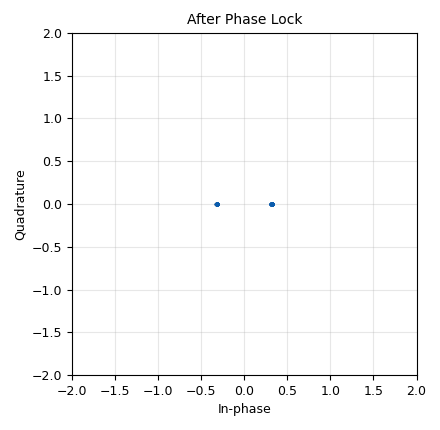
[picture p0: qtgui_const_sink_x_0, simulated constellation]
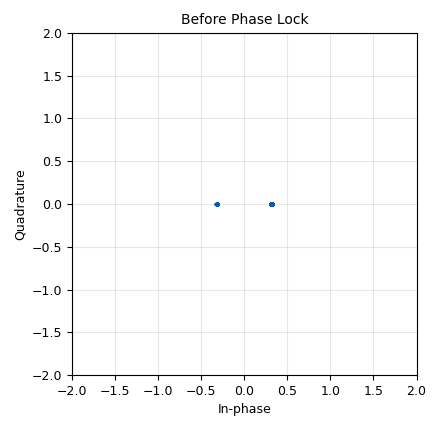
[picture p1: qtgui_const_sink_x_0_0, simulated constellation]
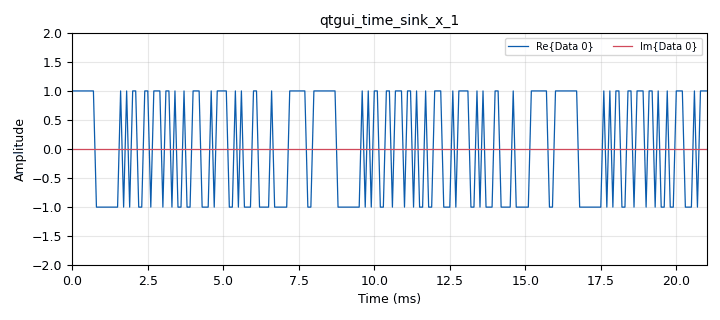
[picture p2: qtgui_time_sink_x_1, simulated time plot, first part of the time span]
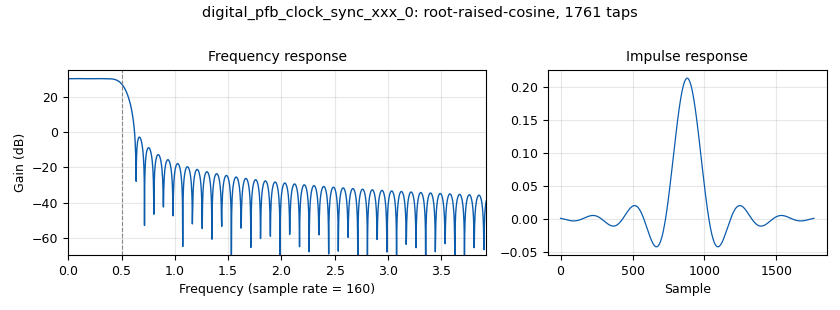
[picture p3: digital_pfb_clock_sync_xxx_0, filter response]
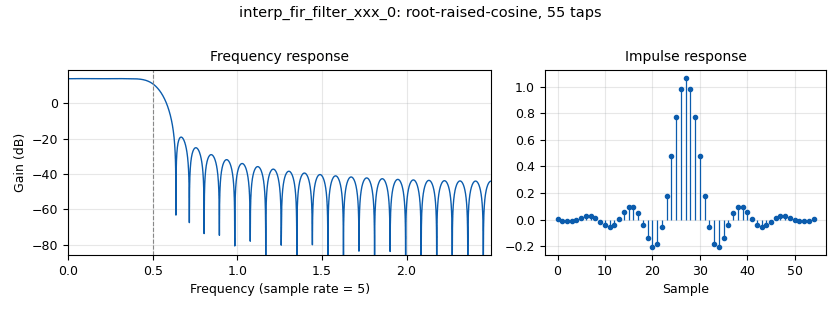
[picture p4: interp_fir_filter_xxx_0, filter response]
<?xml version='1.0' encoding='utf-8'?>
<?grc format='1' created='3.7.11'?>
<flow_graph>
<block>
<key>options</key>
<param><key>id</key><value>example_corr_est_and_phase_sync</value></param>
<param><key>category</key><value>Custom</value></param>
<param><key>generate_options</key><value>qt_gui</value></param>
</block>
<block>
<key>variable</key>
<param><key>id</key><value>ac</value></param>
<param><key>value</key><value>map(lambda x: int(x), list(digital.packet_utils.default_access_code))</value></param>
</block>
<block>
<key>variable</key>
<param><key>id</key><value>ac_hex</value></param>
<param><key>value</key><value>[0xac, 0xdd, 0xa4, 0xe2, 0xf2, 0x8c, 0x20, 0xfc]</value></param>
</block>
<block>
<key>variable</key>
<param><key>id</key><value>eb</value></param>
<param><key>value</key><value>0.22</value></param>
</block>
<block>
<key>variable</key>
<param><key>id</key><value>filt_delay</value></param>
<param><key>value</key><value>1+(len(rrc_taps)-1)/2</value></param>
</block>
<block>
<key>variable_qtgui_range</key>
<param><key>id</key><value>freq_off</value></param>
<param><key>value</key><value>0.0</value></param>
<param><key>gui_hint</key><value>1,0,1,1</value></param>
<param><key>label</key><value>Freq. Off.</value></param>
<param><key>orient</key><value>Qt.Horizontal</value></param>
<param><key>start</key><value>-0.25</value></param>
<param><key>step</key><value>0.0001</value></param>
<param><key>stop</key><value>0.25</value></param>
</block>
<block>
<key>variable_constellation</key>
<param><key>id</key><value>hdr_const</value></param>
<param><key>const_points</key><value>digital.psk_2()[0]</value></param>
<param><key>type</key><value>calcdist</value></param>
<param><key>dims</key><value>1</value></param>
<param><key>rot_sym</key><value>2</value></param>
<param><key>soft_dec_lut</key><value>'auto'</value></param>
<param><key>precision</key><value>8</value></param>
<param><key>sym_map</key><value>digital.psk_2()[1]</value></param>
</block>
<block>
<key>variable</key>
<param><key>id</key><value>mark_delay</value></param>
<param><key>value</key><value>mark_delays[sps]</value></param>
</block>
<block>
<key>variable</key>
<param><key>id</key><value>mark_delays</value></param>
<param><key>comment</key><value>Tag Marking Delay for 
Corr Est block, indexed
by sps.

Found empirically.</value></param>
<param><key>value</key><value>[0, 0, 34, 56, 87, 119]</value></param>
</block>
<block>
<key>variable_modulate_vector</key>
<param><key>id</key><value>modulated_sync_word</value></param>
<param><key>data</key><value>ac_hex</value></param>
<param><key>taps</key><value>[1]</value></param>
<param><key>mod</key><value>rxmod</value></param>
</block>
<block>
<key>variable</key>
<param><key>id</key><value>nfilts</value></param>
<param><key>value</key><value>32</value></param>
</block>
<block>
<key>variable_qtgui_range</key>
<param><key>id</key><value>noise</value></param>
<param><key>value</key><value>-50</value></param>
<param><key>gui_hint</key><value>0,1,1,1</value></param>
<param><key>label</key><value>Noise Power</value></param>
<param><key>orient</key><value>Qt.Horizontal</value></param>
<param><key>start</key><value>-50</value></param>
<param><key>step</key><value>1</value></param>
<param><key>stop</key><value>10</value></param>
</block>
<block>
<key>variable_qtgui_range</key>
<param><key>id</key><value>path_loss</value></param>
<param><key>value</key><value>10</value></param>
<param><key>gui_hint</key><value>0,0,1,1</value></param>
<param><key>label</key><value>Path Loss (dB)</value></param>
<param><key>orient</key><value>Qt.Horizontal</value></param>
<param><key>start</key><value>0</value></param>
<param><key>step</key><value>5</value></param>
<param><key>stop</key><value>140</value></param>
</block>
<block>
<key>variable_rrc_filter_taps</key>
<param><key>id</key><value>rrc_taps</value></param>
<param><key>alpha</key><value>eb</value></param>
<param><key>gain</key><value>sps</value></param>
<param><key>ntaps</key><value>11*sps</value></param>
<param><key>samp_rate</key><value>sps</value></param>
<param><key>sym_rate</key><value>1.0</value></param>
</block>
<block>
<key>variable_rrc_filter_taps</key>
<param><key>id</key><value>rx_psf_taps</value></param>
<param><key>alpha</key><value>eb</value></param>
<param><key>gain</key><value>nfilts</value></param>
<param><key>ntaps</key><value>11*sps*nfilts</value></param>
<param><key>samp_rate</key><value>sps*nfilts</value></param>
<param><key>sym_rate</key><value>1.0</value></param>
</block>
<block>
<key>variable</key>
<param><key>id</key><value>rxmod</value></param>
<param><key>value</key><value>digital.generic_mod(hdr_const, False, sps, True, eb, False, False)</value></param>
</block>
<block>
<key>variable</key>
<param><key>id</key><value>samp_rate</value></param>
<param><key>value</key><value>10e3</value></param>
</block>
<block>
<key>variable</key>
<param><key>id</key><value>sps</value></param>
<param><key>value</key><value>5</value></param>
</block>
<block>
<key>variable_qtgui_range</key>
<param><key>id</key><value>time_off</value></param>
<param><key>value</key><value>1.0</value></param>
<param><key>gui_hint</key><value>1,1,1,1</value></param>
<param><key>label</key><value>Time Off.</value></param>
<param><key>orient</key><value>Qt.Horizontal</value></param>
<param><key>start</key><value>0.9999</value></param>
<param><key>step</key><value>0.00001</value></param>
<param><key>stop</key><value>1.0001</value></param>
</block>
<block>
<key>blocks_add_const_vxx</key>
<param><key>id</key><value>blocks_add_const_vxx_0</value></param>
<param><key>const</key><value>-1</value></param>
<param><key>type</key><value>complex</value></param>
</block>
<block>
<key>blocks_complex_to_mag_squared</key>
<param><key>id</key><value>blocks_complex_to_mag_squared_0</value></param>
</block>
<block>
<key>blocks_multiply_const_vxx</key>
<param><key>id</key><value>blocks_multiply_const_vxx_0</value></param>
<param><key>const</key><value>2</value></param>
<param><key>type</key><value>complex</value></param>
</block>
<block>
<key>blocks_stream_to_tagged_stream</key>
<param><key>id</key><value>blocks_stream_to_tagged_stream_0</value></param>
<param><key>len_tag_key</key><value>"packet_len"</value></param>
<param><key>packet_len</key><value>len(ac)+16</value></param>
<param><key>type</key><value>complex</value></param>
</block>
<block>
<key>blocks_throttle</key>
<param><key>id</key><value>blocks_throttle_0</value></param>
<param><key>samples_per_second</key><value>samp_rate</value></param>
<param><key>type</key><value>complex</value></param>
</block>
<block>
<key>blocks_vector_source_x</key>
<param><key>id</key><value>blocks_vector_source_x_0</value></param>
<param><key>type</key><value>complex</value></param>
<param><key>repeat</key><value>True</value></param>
<param><key>vector</key><value>[1,1,1,1,1,1,1,1,0,0,0,0,0,0,0,0] + ac</value></param>
</block>
<block>
<key>channels_channel_model</key>
<param><key>id</key><value>channels_channel_model_0</value></param>
<param><key>block_tags</key><value>True</value></param>
<param><key>epsilon</key><value>time_off</value></param>
<param><key>freq_offset</key><value>freq_off</value></param>
<param><key>noise_voltage</key><value>sps * 10.0**(noise/10.0)</value></param>
<param><key>seed</key><value>0</value></param>
<param><key>taps</key><value>10.0**(-path_loss/20.0)</value></param>
</block>
<block>
<key>digital_corr_est_cc</key>
<param><key>id</key><value>digital_corr_est_cc_0</value></param>
<param><key>sps</key><value>sps</value></param>
<param><key>symbols</key><value>modulated_sync_word</value></param>
<param><key>mark_delay</key><value>mark_delay</value></param>
<param><key>threshold</key><value>0.999</value></param>
</block>
<block>
<key>digital_costas_loop_cc</key>
<param><key>id</key><value>digital_costas_loop_cc_0_0</value></param>
<param><key>w</key><value>6.28/100.0</value></param>
<param><key>order</key><value>hdr_const.arity()</value></param>
</block>
<block>
<key>digital_pfb_clock_sync_xxx</key>
<param><key>id</key><value>digital_pfb_clock_sync_xxx_0</value></param>
<param><key>filter_size</key><value>nfilts</value></param>
<param><key>init_phase</key><value>nfilts/2</value></param>
<param><key>loop_bw</key><value>6.28/400.0</value></param>
<param><key>max_dev</key><value>1.5</value></param>
<param><key>osps</key><value>1</value></param>
<param><key>sps</key><value>sps</value></param>
<param><key>taps</key><value>rx_psf_taps</value></param>
<param><key>type</key><value>ccf</value></param>
</block>
<block>
<key>interp_fir_filter_xxx</key>
<param><key>id</key><value>interp_fir_filter_xxx_0</value></param>
<param><key>interp</key><value>sps</value></param>
<param><key>samp_delay</key><value>filt_delay</value></param>
<param><key>taps</key><value>rrc_taps</value></param>
<param><key>type</key><value>ccc</value></param>
</block>
<block>
<key>qtgui_const_sink_x</key>
<param><key>id</key><value>qtgui_const_sink_x_0</value></param>
<param><key>gui_hint</key><value>tab1@1: 0,1,1,1</value></param>
<param><key>legend</key><value>False</value></param>
<param><key>name</key><value>"After Phase Lock"</value></param>
<param><key>size</key><value>512</value></param>
<param><key>type</key><value>complex</value></param>
</block>
<block>
<key>qtgui_const_sink_x</key>
<param><key>id</key><value>qtgui_const_sink_x_0_0</value></param>
<param><key>gui_hint</key><value>tab1@1: 0,0,1,1</value></param>
<param><key>legend</key><value>False</value></param>
<param><key>name</key><value>"Before Phase Lock"</value></param>
<param><key>size</key><value>512</value></param>
<param><key>type</key><value>complex</value></param>
</block>
<block>
<key>qtgui_time_sink_x</key>
<param><key>id</key><value>qtgui_time_sink_x_0</value></param>
<param><key>gui_hint</key><value>tab1@0</value></param>
<param><key>legend</key><value>False</value></param>
<param><key>color1</key><value>"blue"</value></param>
<param><key>label1</key><value></value></param>
<param><key>color2</key><value>"red"</value></param>
<param><key>label2</key><value></value></param>
<param><key>name</key><value>"Symbols"</value></param>
<param><key>size</key><value>200</value></param>
<param><key>srate</key><value>1</value></param>
<param><key>tr_delay</key><value>15</value></param>
<param><key>tr_mode</key><value>qtgui.TRIG_MODE_TAG</value></param>
<param><key>tr_tag</key><value>corr_start</value></param>
<param><key>type</key><value>complex</value></param>
<param><key>ymax</key><value>1.5</value></param>
<param><key>ymin</key><value>-1.5</value></param>
</block>
<block>
<key>qtgui_time_sink_x</key>
<param><key>id</key><value>qtgui_time_sink_x_0_0</value></param>
<param><key>gui_hint</key><value>tab0@0</value></param>
<param><key>legend</key><value>False</value></param>
<param><key>color1</key><value>"blue"</value></param>
<param><key>label1</key><value></value></param>
<param><key>color2</key><value>"red"</value></param>
<param><key>label2</key><value></value></param>
<param><key>name</key><value>"Complex Corr"</value></param>
<param><key>size</key><value>512</value></param>
<param><key>srate</key><value>1</value></param>
<param><key>tr_delay</key><value>15</value></param>
<param><key>tr_level</key><value>0</value></param>
<param><key>tr_mode</key><value>qtgui.TRIG_MODE_TAG</value></param>
<param><key>tr_tag</key><value>corr_est</value></param>
<param><key>type</key><value>complex</value></param>
<param><key>ymax</key><value>100</value></param>
<param><key>ymin</key><value>-100</value></param>
</block>
<block>
<key>qtgui_time_sink_x</key>
<param><key>id</key><value>qtgui_time_sink_x_0_0_0</value></param>
<param><key>gui_hint</key><value>tab0@1</value></param>
<param><key>legend</key><value>False</value></param>
<param><key>color1</key><value>"blue"</value></param>
<param><key>label1</key><value></value></param>
<param><key>name</key><value>"Mag of Corr"</value></param>
<param><key>size</key><value>512</value></param>
<param><key>srate</key><value>1</value></param>
<param><key>tr_delay</key><value>15</value></param>
<param><key>tr_level</key><value>0</value></param>
<param><key>tr_mode</key><value>qtgui.TRIG_MODE_TAG</value></param>
<param><key>tr_tag</key><value>corr_est</value></param>
<param><key>type</key><value>float</value></param>
<param><key>ymax</key><value>4000</value></param>
<param><key>ymin</key><value>-100</value></param>
</block>
<block>
<key>qtgui_time_sink_x</key>
<param><key>id</key><value>qtgui_time_sink_x_1</value></param>
<param><key>color1</key><value>"blue"</value></param>
<param><key>label1</key><value></value></param>
<param><key>color2</key><value>"red"</value></param>
<param><key>label2</key><value></value></param>
<param><key>size</key><value>1024</value></param>
<param><key>srate</key><value>samp_rate</value></param>
<param><key>tr_delay</key><value>2</value></param>
<param><key>tr_mode</key><value>qtgui.TRIG_MODE_TAG</value></param>
<param><key>tr_tag</key><value>packet_len</value></param>
<param><key>type</key><value>complex</value></param>
<param><key>ymax</key><value>2</value></param>
<param><key>ymin</key><value>-2</value></param>
</block>
<block>
<key>qtgui_tab_widget</key>
<param><key>id</key><value>tab0</value></param>
<param><key>label0</key><value>Corr</value></param>
<param><key>label1</key><value>|Corr|^2</value></param>
<param><key>num_tabs</key><value>2</value></param>
</block>
<block>
<key>qtgui_tab_widget</key>
<param><key>id</key><value>tab1</value></param>
<param><key>gui_hint</key><value>2,0,1,2</value></param>
<param><key>label0</key><value>Time</value></param>
<param><key>label1</key><value>Const.</value></param>
<param><key>num_tabs</key><value>2</value></param>
</block>
<connection><source_block_id>blocks_add_const_vxx_0</source_block_id><sink_block_id>blocks_throttle_0</sink_block_id><source_key>0</source_key><sink_key>0</sink_key></connection>
<connection><source_block_id>blocks_complex_to_mag_squared_0</source_block_id><sink_block_id>qtgui_time_sink_x_0_0_0</sink_block_id><source_key>0</source_key><sink_key>0</sink_key></connection>
<connection><source_block_id>blocks_multiply_const_vxx_0</source_block_id><sink_block_id>blocks_add_const_vxx_0</sink_block_id><source_key>0</source_key><sink_key>0</sink_key></connection>
<connection><source_block_id>blocks_stream_to_tagged_stream_0</source_block_id><sink_block_id>interp_fir_filter_xxx_0</sink_block_id><source_key>0</source_key><sink_key>0</sink_key></connection>
<connection><source_block_id>blocks_stream_to_tagged_stream_0</source_block_id><sink_block_id>qtgui_time_sink_x_1</sink_block_id><source_key>0</source_key><sink_key>0</sink_key></connection>
<connection><source_block_id>blocks_throttle_0</source_block_id><sink_block_id>blocks_stream_to_tagged_stream_0</sink_block_id><source_key>0</source_key><sink_key>0</sink_key></connection>
<connection><source_block_id>blocks_vector_source_x_0</source_block_id><sink_block_id>blocks_multiply_const_vxx_0</sink_block_id><source_key>0</source_key><sink_key>0</sink_key></connection>
<connection><source_block_id>channels_channel_model_0</source_block_id><sink_block_id>digital_corr_est_cc_0</sink_block_id><source_key>0</source_key><sink_key>0</sink_key></connection>
<connection><source_block_id>digital_corr_est_cc_0</source_block_id><sink_block_id>blocks_complex_to_mag_squared_0</sink_block_id><source_key>1</source_key><sink_key>0</sink_key></connection>
<connection><source_block_id>digital_corr_est_cc_0</source_block_id><sink_block_id>qtgui_time_sink_x_0_0</sink_block_id><source_key>1</source_key><sink_key>0</sink_key></connection>
<connection><source_block_id>digital_corr_est_cc_0</source_block_id><sink_block_id>digital_pfb_clock_sync_xxx_0</sink_block_id><source_key>0</source_key><sink_key>0</sink_key></connection>
<connection><source_block_id>digital_costas_loop_cc_0_0</source_block_id><sink_block_id>qtgui_const_sink_x_0</sink_block_id><source_key>0</source_key><sink_key>0</sink_key></connection>
<connection><source_block_id>digital_costas_loop_cc_0_0</source_block_id><sink_block_id>qtgui_time_sink_x_0</sink_block_id><source_key>0</source_key><sink_key>0</sink_key></connection>
<connection><source_block_id>digital_pfb_clock_sync_xxx_0</source_block_id><sink_block_id>digital_costas_loop_cc_0_0</sink_block_id><source_key>0</source_key><sink_key>0</sink_key></connection>
<connection><source_block_id>digital_pfb_clock_sync_xxx_0</source_block_id><sink_block_id>qtgui_const_sink_x_0_0</sink_block_id><source_key>0</source_key><sink_key>0</sink_key></connection>
<connection><source_block_id>interp_fir_filter_xxx_0</source_block_id><sink_block_id>channels_channel_model_0</sink_block_id><source_key>0</source_key><sink_key>0</sink_key></connection>
</flow_graph>
